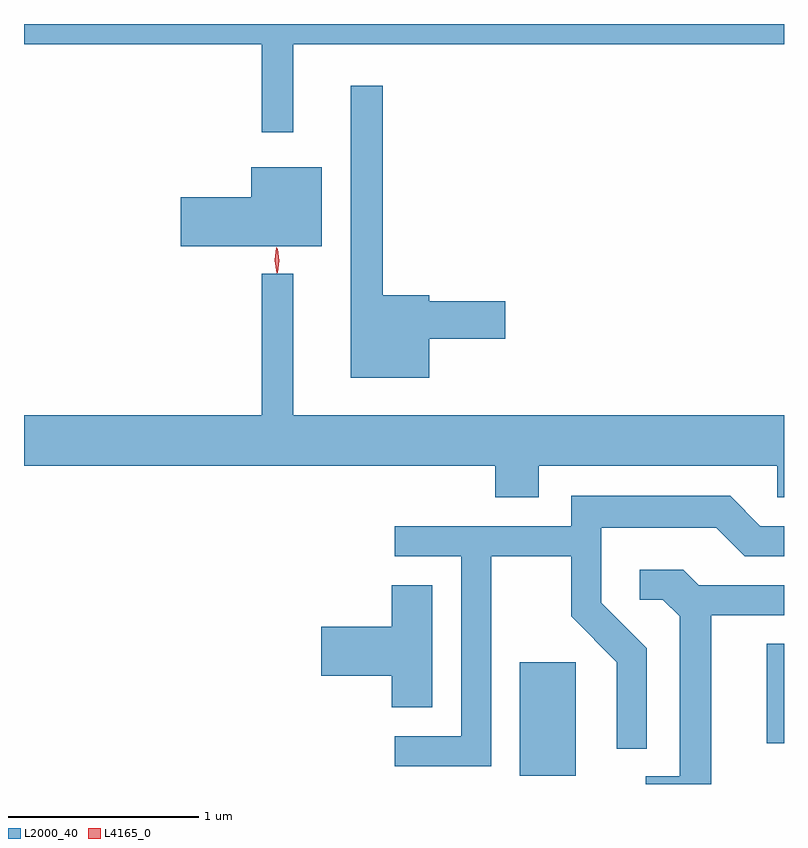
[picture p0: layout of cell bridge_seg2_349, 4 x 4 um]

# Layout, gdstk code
import gdstk
lib = gdstk.Library(unit=1e-6, precision=1e-09)
def R(c, l, rs):  # rectangles x0, y0, x1, y1
    for r in rs: c.add(gdstk.rectangle(r[:2], r[2:], *l))
def P(c, l, *ps):  # polygons
    for p in ps: c.add(gdstk.Polygon(p, *l))
L2000_40 = (2000, 40)
L4165_0 = (4165, 0)

bridge_seg2_349 = lib.new_cell('bridge_seg2_349')
R(bridge_seg2_349, L2000_40, [(305.881,1011.166,306.174,1011.764), (307.181,1011.336,307.271,1011.859)])
P(bridge_seg2_349, L2000_40, [(304.689,1015.016),(307.271,1015.016),(307.271,1015.122),(303.271,1015.122),(303.271,1015.016),(304.521,1015.016),(304.521,1014.553),(304.689,1014.553)],
  [(305.404,1013.466),(305.804,1013.466),(305.804,1013.664),(305.404,1013.664),(305.404,1013.694),(305.159,1013.694),(305.159,1014.798),(304.991,1014.798),(304.991,1013.261),(305.404,1013.261)],
  [(304.839,1014.369),(304.466,1014.369),(304.466,1014.209),(304.096,1014.209),(304.096,1013.951),(304.839,1013.951)],
  [(305.979,1012.796),(307.236,1012.796),(307.236,1012.631),(307.271,1012.631),(307.271,1013.064),(304.689,1013.064),(304.689,1013.808),(304.521,1013.808),(304.521,1013.064),(303.271,1013.064),(303.271,1012.796),(305.751,1012.796),(305.751,1012.631),(305.979,1012.631)],
  [(305.729,1012.321),(306.151,1012.321),(306.151,1012.004),(306.391,1011.764),(306.391,1011.308),(306.549,1011.308),(306.549,1011.837),(306.309,1012.077),(306.309,1012.471),(306.914,1012.471),(307.064,1012.321),(307.271,1012.321),(307.271,1012.479),(307.147,1012.479),(306.987,1012.639),(306.151,1012.639),(306.151,1012.479),(305.223,1012.479),(305.223,1012.321),(305.571,1012.321),(305.571,1011.374),(305.223,1011.374),(305.223,1011.216),(305.729,1011.216)],
  [(306.889,1012.011),(307.271,1012.011),(307.271,1012.169),(306.822,1012.169),(306.742,1012.249),(306.513,1012.249),(306.513,1012.091),(306.634,1012.091),(306.721,1012.004),(306.721,1011.164),(306.543,1011.164),(306.543,1011.122),(306.889,1011.122)],
  [(305.419,1012.169),(305.206,1012.169),(305.206,1011.949),(304.836,1011.949),(304.836,1011.691),(305.206,1011.691),(305.206,1011.526),(305.419,1011.526)])
P(bridge_seg2_349, L4165_0, [(304.604,1013.813),(304.595,1013.876),(304.604,1013.94),(304.605,1013.94),(304.606,1013.94),(304.615,1013.876),(304.606,1013.813),(304.605,1013.813)],
  [(304.6,1013.81),(304.6,1013.81),(304.59,1013.878),(304.599,1013.945),(304.6,1013.946),(304.6,1013.945),(304.61,1013.878),(304.601,1013.81)])

lib.write_gds('bridge_seg2_349.gds')
